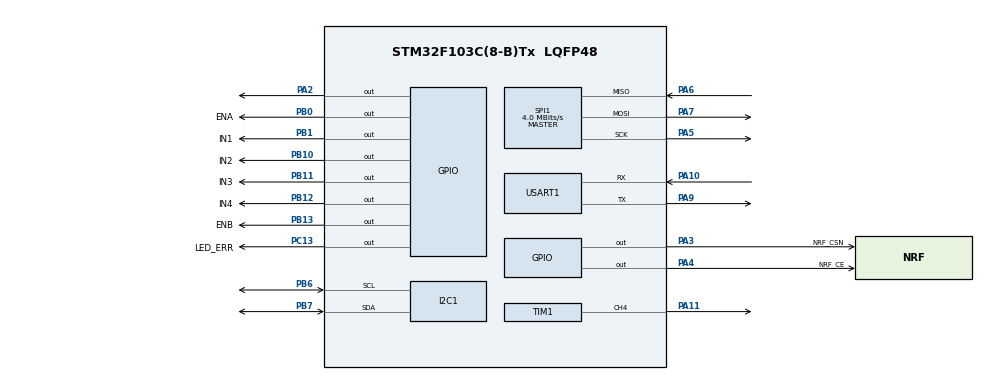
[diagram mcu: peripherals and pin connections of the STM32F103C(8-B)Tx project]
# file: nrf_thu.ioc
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Mcu.Family=STM32F1
Mcu.Name=STM32F103C(8-B)Tx
Mcu.Package=LQFP48
NVIC.PriorityGroup=NVIC_PRIORITYGROUP_4
PA10.Mode=Asynchronous
PA10.Signal=USART1_RX
PA11.Signal=S_TIM1_CH4
PA13.Mode=Serial_Wire
PA13.Signal=SYS_JTMS-SWDIO
PA14.Mode=Serial_Wire
PA14.Signal=SYS_JTCK-SWCLK
PA2.GPIO_PuPd=GPIO_PULLUP
PA2.Signal=GPIO_Output
PA3.GPIO_Label=NRF_CSN
PA3.GPIO_Speed=GPIO_SPEED_FREQ_LOW
PA3.PinState=GPIO_PIN_SET
PA3.Signal=GPIO_Output
PA4.GPIO_Label=NRF_CE
PA4.Signal=GPIO_Output
PA5.Mode=Full_Duplex_Master
PA5.Signal=SPI1_SCK
PA6.Mode=Full_Duplex_Master
PA6.Signal=SPI1_MISO
PA7.Mode=Full_Duplex_Master
PA7.Signal=SPI1_MOSI
PA9.Mode=Asynchronous
PA9.Signal=USART1_TX
PB0.GPIO_Label=ENA
PB0.GPIO_Speed=GPIO_SPEED_FREQ_HIGH
PB0.Signal=GPIO_Output
PB1.GPIO_Label=IN1
PB1.GPIO_Speed=GPIO_SPEED_FREQ_HIGH
PB1.Signal=GPIO_Output
PB10.GPIO_Label=IN2
PB10.GPIO_Speed=GPIO_SPEED_FREQ_HIGH
PB10.Signal=GPIO_Output
PB11.GPIO_Label=IN3
PB11.GPIO_Speed=GPIO_SPEED_FREQ_HIGH
PB11.Signal=GPIO_Output
PB12.GPIO_Label=IN4
PB12.GPIO_Speed=GPIO_SPEED_FREQ_HIGH
PB12.Signal=GPIO_Output
PB13.GPIO_Label=ENB
PB13.GPIO_Speed=GPIO_SPEED_FREQ_HIGH
PB13.Signal=GPIO_Output
PB6.Mode=I2C
PB6.Signal=I2C1_SCL
PB7.Mode=I2C
PB7.Signal=I2C1_SDA
PC13-TAMPER-RTC.GPIO_Label=LED_ERR
PC13-TAMPER-RTC.Signal=GPIO_Output
ProjectManager.HeapSize=0x200
ProjectManager.StackSize=0x400
ProjectManager.TargetToolchain=STM32CubeIDE
RCC.APB1Freq_Value=8000000
RCC.APB2Freq_Value=8000000
SH.S_TIM1_CH4.0=TIM1_CH4,PWM Generation4 CH4
SPI1.CalculateBaudRate=4.0 MBits/s
SPI1.Direction=SPI_DIRECTION_2LINES
SPI1.Mode=SPI_MODE_MASTER
SPI1.VirtualType=VM_MASTER
TIM1.Channel-PWM\ Generation4\ CH4=TIM_CHANNEL_4
TIM1.Period=999
TIM1.Prescaler=7
TIM1.Pulse-PWM\ Generation4\ CH4=500
USART1.VirtualMode=VM_ASYNC
VP_TIM1_VS_ClockSourceINT.Mode=Internal
board=custom

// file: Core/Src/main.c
/* USER CODE BEGIN Header */
/**
 ******************************************************************************
 * @file           : main.c
 * @brief          : Main program body
 ******************************************************************************
 * @attention
 *
 * Copyright (c) 2025 STMicroelectronics.
 * All rights reserved.
 *
 * This software is licensed under terms that can be found in the LICENSE file
 * in the root directory of this software component.
 * If no LICENSE file comes with this software, it is provided AS-IS.
 *
 ******************************************************************************
 */
/* USER CODE END Header */
#include "main.h"

/* USER CODE BEGIN Includes */
#include "nRF24L01.h"
#include "RF24_STM32.h"
#include "ina219.h"
#include "string.h"
#include "stdio.h"

RF24_HandleTypeDef hRF24;
INA219_t ina219;
/* USER CODE END Includes */

/* USER CODE BEGIN PTD */
const uint8_t rx_address[5] = { 0x30, 0x30, 0x30, 0x30, 0x31 };
const uint8_t tx_address[5] = { 0x30, 0x30, 0x30, 0x30, 0x32 };
char rxData[32];
uint32_t last_rx = 0;
const uint32_t timeout = 500;

uint32_t last_ina_read = 0;
const uint32_t ina_interval = 1000;

volatile uint32_t pwm = 700;
/* USER CODE END PTD */

I2C_HandleTypeDef hi2c1;

SPI_HandleTypeDef hspi1;

TIM_HandleTypeDef htim1;

UART_HandleTypeDef huart1;

void SystemClock_Config(void);
static void MX_GPIO_Init(void);
static void MX_SPI1_Init(void);
static void MX_USART1_UART_Init(void);
static void MX_I2C1_Init(void);
static void MX_TIM1_Init(void);
/* USER CODE BEGIN PFP */
void stop(void);
void tien(void);
void trai(void);
void phai(void);
void lui(void);
/* USER CODE END PFP */

/* USER CODE BEGIN 0 */
//uint8_t rx_address[5] = { 0x12, 0x34, 0x56, 0x78, 0x90 };
/* ----------------------------------- */
int _write(int file, char *ptr, int len) {
	HAL_UART_Transmit(&huart1, (uint8_t*) ptr, len, HAL_MAX_DELAY);
	return len;
}
/* USER CODE END 0 */

int main(void) {

	/* MCU Configuration--------------------------------------------------------*/

	/* Reset of all peripherals, Initializes the Flash interface and the Systick. */
	HAL_Init();

	/* Configure the system clock */
	SystemClock_Config();

	/* Initialize all configured peripherals */
	MX_GPIO_Init();
	MX_SPI1_Init();
	MX_USART1_UART_Init();
	MX_I2C1_Init();
	MX_TIM1_Init();
	/* USER CODE BEGIN 2 */

	__HAL_TIM_MOE_ENABLE(&htim1);
	HAL_TIM_PWM_Start(&htim1, TIM_CHANNEL_4);

	INA219_Init(&ina219, &hi2c1, INA219_ADDRESS);
	if (INA219_Begin(&ina219)) {
		printf("Ket noi thanh cong INA");
	} else {
		//Error_Handler();
	}
	printf("System Initializing...\r\n");

	RF24_Init(&hRF24, &hspi1, NRF_CE_GPIO_Port, NRF_CE_Pin, NRF_CSN_GPIO_Port,
	NRF_CSN_Pin);
	if (!RF24_begin(&hRF24)) {
		while (1) {
			printf("Error: NRF24 not connected!\r\n");
			HAL_GPIO_TogglePin(LED_ERR_GPIO_Port, LED_ERR_Pin);
			HAL_Delay(100);
		}
	}
	printf("NRF24 Connected! Mode: RX\r\n");

	RF24_setPALevel(&hRF24, RF24_PA_LOW);

	RF24_setDataRate(&hRF24, RF24_250KBPS);

	RF24_setChannel(&hRF24, 76);
	RF24_setPayloadSize(&hRF24, 32);

	RF24_openWritingPipe(&hRF24, tx_address);
	RF24_openReadingPipe(&hRF24, 1, rx_address);
	RF24_startListening(&hRF24);

	HAL_Delay(100);
	printf("Flushing old data...\r\n");
	while (RF24_available(&hRF24)) {
		char trash[32];
		RF24_read(&hRF24, trash, 32);
		printf("Discarded: %s\r\n", trash);
	}
	last_rx = HAL_GetTick();
	/* USER CODE END 2 */

	/* Infinite loop */
	while (1) {

		/* USER CODE BEGIN 3 */
		if (RF24_available(&hRF24)) {
			memset(rxData, 0, sizeof(rxData));

			RF24_read(&hRF24, rxData, 32);

			last_rx = HAL_GetTick();

			HAL_GPIO_WritePin(LED_ERR_GPIO_Port, LED_ERR_Pin, GPIO_PIN_RESET);

			printf("Cmd: %s\r\n", rxData);

			if (strcmp(rxData, "tien") == 0) {
				tien();
				HAL_Delay(100);
			} else if (strcmp(rxData, "lui") == 0) {
				lui();
				HAL_Delay(100);
			} else if (strcmp(rxData, "trai") == 0) {
				trai();
				HAL_Delay(100);
			} else if (strcmp(rxData, "phai") == 0) {
				phai();
				HAL_Delay(100);
			} else if (strcmp(rxData, "tang") == 0) {
				pwm += 100;
			} else if (strcmp(rxData, "giam") == 0) {
				pwm -= 100;
			} else {
				stop();
				if ((HAL_GetTick() - last_ina_read) >= ina_interval) {
					last_ina_read = HAL_GetTick();

					float busVolt = INA219_getBusVoltage_V(&ina219);
					if (ina219.hi2c->ErrorCode != HAL_I2C_ERROR_NONE) {
						printf("I2C Err: %lu\r\n", ina219.hi2c->ErrorCode);
						HAL_I2C_DeInit(&hi2c1);
						HAL_Delay(5);
						HAL_I2C_Init(&hi2c1);
						INA219_setCalibration_32V_2A(&ina219);
					} else {
						printf("V_Pin: %.2f V\r\n", busVolt);
					}

					RF24_stopListening(&hRF24);
					bool report = RF24_write(&hRF24, &busVolt, sizeof(float));
					RF24_startListening(&hRF24);

					if (report)
						printf("Sent: %f\r\n", busVolt);
				}
			}
		}

		if ((HAL_GetTick() - last_rx) > timeout) {
			stop();

			HAL_GPIO_WritePin(LED_ERR_GPIO_Port, LED_ERR_Pin, GPIO_PIN_SET);
			HAL_Delay(1000);
			printf("Connection Lost!\r\n");
		}
	}
	/* USER CODE END 3 */
}

void SystemClock_Config(void) {
	RCC_OscInitTypeDef RCC_OscInitStruct = { 0 };
	RCC_ClkInitTypeDef RCC_ClkInitStruct = { 0 };

	/** Initializes the RCC Oscillators according to the specified parameters
	 * in the RCC_OscInitTypeDef structure.
	 */
	RCC_OscInitStruct.OscillatorType = RCC_OSCILLATORTYPE_HSI;
	RCC_OscInitStruct.HSIState = RCC_HSI_ON;
	RCC_OscInitStruct.HSICalibrationValue = RCC_HSICALIBRATION_DEFAULT;
	RCC_OscInitStruct.PLL.PLLState = RCC_PLL_NONE;
	if (HAL_RCC_OscConfig(&RCC_OscInitStruct) != HAL_OK) {
		Error_Handler();
	}

	/** Initializes the CPU, AHB and APB buses clocks
	 */
	RCC_ClkInitStruct.ClockType = RCC_CLOCKTYPE_HCLK | RCC_CLOCKTYPE_SYSCLK
			| RCC_CLOCKTYPE_PCLK1 | RCC_CLOCKTYPE_PCLK2;
	RCC_ClkInitStruct.SYSCLKSource = RCC_SYSCLKSOURCE_HSI;
	RCC_ClkInitStruct.AHBCLKDivider = RCC_SYSCLK_DIV1;
	RCC_ClkInitStruct.APB1CLKDivider = RCC_HCLK_DIV1;
	RCC_ClkInitStruct.APB2CLKDivider = RCC_HCLK_DIV1;

	if (HAL_RCC_ClockConfig(&RCC_ClkInitStruct, FLASH_LATENCY_0) != HAL_OK) {
		Error_Handler();
	}
}

static void MX_I2C1_Init(void) {

	hi2c1.Instance = I2C1;
	hi2c1.Init.ClockSpeed = 100000;
	hi2c1.Init.DutyCycle = I2C_DUTYCYCLE_2;
	hi2c1.Init.OwnAddress1 = 0;
	hi2c1.Init.AddressingMode = I2C_ADDRESSINGMODE_7BIT;
	hi2c1.Init.DualAddressMode = I2C_DUALADDRESS_DISABLE;
	hi2c1.Init.OwnAddress2 = 0;
	hi2c1.Init.GeneralCallMode = I2C_GENERALCALL_DISABLE;
	hi2c1.Init.NoStretchMode = I2C_NOSTRETCH_DISABLE;
	if (HAL_I2C_Init(&hi2c1) != HAL_OK) {
		Error_Handler();
	}

}

static void MX_SPI1_Init(void) {

	/* SPI1 parameter configuration*/
	hspi1.Instance = SPI1;
	hspi1.Init.Mode = SPI_MODE_MASTER;
	hspi1.Init.Direction = SPI_DIRECTION_2LINES;
	hspi1.Init.DataSize = SPI_DATASIZE_8BIT;
	hspi1.Init.CLKPolarity = SPI_POLARITY_LOW;
	hspi1.Init.CLKPhase = SPI_PHASE_1EDGE;
	hspi1.Init.NSS = SPI_NSS_SOFT;
	hspi1.Init.BaudRatePrescaler = SPI_BAUDRATEPRESCALER_2;
	hspi1.Init.FirstBit = SPI_FIRSTBIT_MSB;
	hspi1.Init.TIMode = SPI_TIMODE_DISABLE;
	hspi1.Init.CRCCalculation = SPI_CRCCALCULATION_DISABLE;
	hspi1.Init.CRCPolynomial = 10;
	if (HAL_SPI_Init(&hspi1) != HAL_OK) {
		Error_Handler();
	}

}

static void MX_TIM1_Init(void) {

	TIM_ClockConfigTypeDef sClockSourceConfig = { 0 };
	TIM_MasterConfigTypeDef sMasterConfig = { 0 };
	TIM_OC_InitTypeDef sConfigOC = { 0 };
	TIM_BreakDeadTimeConfigTypeDef sBreakDeadTimeConfig = { 0 };

	htim1.Instance = TIM1;
	htim1.Init.Prescaler = 7;
	htim1.Init.CounterMode = TIM_COUNTERMODE_UP;
	htim1.Init.Period = 999;
	htim1.Init.ClockDivision = TIM_CLOCKDIVISION_DIV1;
	htim1.Init.RepetitionCounter = 0;
	htim1.Init.AutoReloadPreload = TIM_AUTORELOAD_PRELOAD_DISABLE;
	if (HAL_TIM_Base_Init(&htim1) != HAL_OK) {
		Error_Handler();
	}
	sClockSourceConfig.ClockSource = TIM_CLOCKSOURCE_INTERNAL;
	if (HAL_TIM_ConfigClockSource(&htim1, &sClockSourceConfig) != HAL_OK) {
		Error_Handler();
	}
	if (HAL_TIM_PWM_Init(&htim1) != HAL_OK) {
		Error_Handler();
	}
	sMasterConfig.MasterOutputTrigger = TIM_TRGO_RESET;
	sMasterConfig.MasterSlaveMode = TIM_MASTERSLAVEMODE_DISABLE;
	if (HAL_TIMEx_MasterConfigSynchronization(&htim1, &sMasterConfig)
			!= HAL_OK) {
		Error_Handler();
	}
	sConfigOC.OCMode = TIM_OCMODE_PWM1;
	sConfigOC.Pulse = 500;
	sConfigOC.OCPolarity = TIM_OCPOLARITY_HIGH;
	sConfigOC.OCFastMode = TIM_OCFAST_DISABLE;
	sConfigOC.OCIdleState = TIM_OCIDLESTATE_RESET;
	sConfigOC.OCNIdleState = TIM_OCNIDLESTATE_RESET;
	if (HAL_TIM_PWM_ConfigChannel(&htim1, &sConfigOC, TIM_CHANNEL_4)
			!= HAL_OK) {
		Error_Handler();
	}
	sBreakDeadTimeConfig.OffStateRunMode = TIM_OSSR_DISABLE;
	sBreakDeadTimeConfig.OffStateIDLEMode = TIM_OSSI_DISABLE;
	sBreakDeadTimeConfig.LockLevel = TIM_LOCKLEVEL_OFF;
	sBreakDeadTimeConfig.DeadTime = 0;
	sBreakDeadTimeConfig.BreakState = TIM_BREAK_DISABLE;
	sBreakDeadTimeConfig.BreakPolarity = TIM_BREAKPOLARITY_HIGH;
	sBreakDeadTimeConfig.AutomaticOutput = TIM_AUTOMATICOUTPUT_DISABLE;
	if (HAL_TIMEx_ConfigBreakDeadTime(&htim1, &sBreakDeadTimeConfig)
			!= HAL_OK) {
		Error_Handler();
	}
	HAL_TIM_MspPostInit(&htim1);

}

static void MX_USART1_UART_Init(void) {

	huart1.Instance = USART1;
	huart1.Init.BaudRate = 115200;
	huart1.Init.WordLength = UART_WORDLENGTH_8B;
	huart1.Init.StopBits = UART_STOPBITS_1;
	huart1.Init.Parity = UART_PARITY_NONE;
	huart1.Init.Mode = UART_MODE_TX_RX;
	huart1.Init.HwFlowCtl = UART_HWCONTROL_NONE;
	huart1.Init.OverSampling = UART_OVERSAMPLING_16;
	if (HAL_UART_Init(&huart1) != HAL_OK) {
		Error_Handler();
	}

}

static void MX_GPIO_Init(void) {
	GPIO_InitTypeDef GPIO_InitStruct = { 0 };

	/* GPIO Ports Clock Enable */
	__HAL_RCC_GPIOC_CLK_ENABLE();
	__HAL_RCC_GPIOA_CLK_ENABLE();
	__HAL_RCC_GPIOB_CLK_ENABLE();

	/*Configure GPIO pin Output Level */
	HAL_GPIO_WritePin(LED_ERR_GPIO_Port, LED_ERR_Pin, GPIO_PIN_RESET);

	/*Configure GPIO pin Output Level */
	HAL_GPIO_WritePin(GPIOA, GPIO_PIN_2 | NRF_CE_Pin, GPIO_PIN_RESET);

	/*Configure GPIO pin Output Level */
	HAL_GPIO_WritePin(NRF_CSN_GPIO_Port, NRF_CSN_Pin, GPIO_PIN_SET);

	/*Configure GPIO pin Output Level */
	HAL_GPIO_WritePin(GPIOB,
	ENA_Pin | IN1_Pin | IN2_Pin | IN3_Pin | IN4_Pin | ENB_Pin, GPIO_PIN_RESET);

	/*Configure GPIO pin : LED_ERR_Pin */
	GPIO_InitStruct.Pin = LED_ERR_Pin;
	GPIO_InitStruct.Mode = GPIO_MODE_OUTPUT_PP;
	GPIO_InitStruct.Pull = GPIO_NOPULL;
	GPIO_InitStruct.Speed = GPIO_SPEED_FREQ_LOW;
	HAL_GPIO_Init(LED_ERR_GPIO_Port, &GPIO_InitStruct);

	/*Configure GPIO pin : PA2 */
	GPIO_InitStruct.Pin = GPIO_PIN_2;
	GPIO_InitStruct.Mode = GPIO_MODE_OUTPUT_PP;
	GPIO_InitStruct.Pull = GPIO_PULLUP;
	GPIO_InitStruct.Speed = GPIO_SPEED_FREQ_LOW;
	HAL_GPIO_Init(GPIOA, &GPIO_InitStruct);

	/*Configure GPIO pins : NRF_CSN_Pin NRF_CE_Pin */
	GPIO_InitStruct.Pin = NRF_CSN_Pin | NRF_CE_Pin;
	GPIO_InitStruct.Mode = GPIO_MODE_OUTPUT_PP;
	GPIO_InitStruct.Pull = GPIO_NOPULL;
	GPIO_InitStruct.Speed = GPIO_SPEED_FREQ_LOW;
	HAL_GPIO_Init(GPIOA, &GPIO_InitStruct);

	/*Configure GPIO pins : ENA_Pin IN1_Pin IN2_Pin IN3_Pin
	 IN4_Pin ENB_Pin */
	GPIO_InitStruct.Pin = ENA_Pin | IN1_Pin | IN2_Pin | IN3_Pin | IN4_Pin
			| ENB_Pin;
	GPIO_InitStruct.Mode = GPIO_MODE_OUTPUT_PP;
	GPIO_InitStruct.Pull = GPIO_NOPULL;
	GPIO_InitStruct.Speed = GPIO_SPEED_FREQ_HIGH;
	HAL_GPIO_Init(GPIOB, &GPIO_InitStruct);

}

/* USER CODE BEGIN 4 */

void pwm_set(void) {
	if (pwm > 999)
		pwm = 999;
	__HAL_TIM_SET_COMPARE(&htim1, TIM_CHANNEL_4, pwm);
}

void stop(void) {

	HAL_GPIO_WritePin(GPIOB, ENA_Pin, GPIO_PIN_RESET);
	HAL_GPIO_WritePin(GPIOB, ENB_Pin, GPIO_PIN_RESET);
	pwm_set();

	HAL_GPIO_WritePin(GPIOB, IN1_Pin, GPIO_PIN_RESET);
	HAL_GPIO_WritePin(GPIOB, IN2_Pin, GPIO_PIN_RESET);
	HAL_GPIO_WritePin(GPIOB, IN3_Pin, GPIO_PIN_RESET);
	HAL_GPIO_WritePin(GPIOB, IN4_Pin, GPIO_PIN_RESET);
}

void tien(void) {

	HAL_GPIO_WritePin(GPIOB, ENA_Pin, GPIO_PIN_SET);
	HAL_GPIO_WritePin(GPIOB, ENB_Pin, GPIO_PIN_SET);

	pwm_set();
	// IN1=1, IN2=0 (Trái tiến)
	HAL_GPIO_WritePin(GPIOB, IN1_Pin, GPIO_PIN_SET);
	HAL_GPIO_WritePin(GPIOB, IN2_Pin, GPIO_PIN_RESET);
	// IN3=1, IN4=0 (Phải tiến)
	HAL_GPIO_WritePin(GPIOB, IN3_Pin, GPIO_PIN_SET);
	HAL_GPIO_WritePin(GPIOB, IN4_Pin, GPIO_PIN_RESET);
}

void lui(void) {
	HAL_GPIO_WritePin(GPIOB, ENA_Pin, GPIO_PIN_SET);
	HAL_GPIO_WritePin(GPIOB, ENB_Pin, GPIO_PIN_SET);

	pwm_set();
	// IN1=0, IN2=1 (Trái lùi)
	HAL_GPIO_WritePin(GPIOB, IN1_Pin, GPIO_PIN_RESET);
	HAL_GPIO_WritePin(GPIOB, IN2_Pin, GPIO_PIN_SET);

	// IN3=0, IN4=1 (Phải lùi)
	HAL_GPIO_WritePin(GPIOB, IN3_Pin, GPIO_PIN_RESET);
	HAL_GPIO_WritePin(GPIOB, IN4_Pin, GPIO_PIN_SET);
}

void trai(void) {
	HAL_GPIO_WritePin(GPIOB, ENA_Pin, GPIO_PIN_SET);
	HAL_GPIO_WritePin(GPIOB, ENB_Pin, GPIO_PIN_SET);

	pwm_set();
	// IN1=1, IN2=0 (Trái tiến)
	HAL_GPIO_WritePin(GPIOB, IN1_Pin, GPIO_PIN_SET);
	HAL_GPIO_WritePin(GPIOB, IN2_Pin, GPIO_PIN_RESET);

	// IN3=0, IN4=1 (Phải lùi)
	HAL_GPIO_WritePin(GPIOB, IN3_Pin, GPIO_PIN_RESET);
	HAL_GPIO_WritePin(GPIOB, IN4_Pin, GPIO_PIN_SET);
}

void phai(void) {
	HAL_GPIO_WritePin(GPIOB, ENA_Pin, GPIO_PIN_SET);
	HAL_GPIO_WritePin(GPIOB, ENB_Pin, GPIO_PIN_SET);

	pwm_set();
	// IN1=0, IN2=1 (Trái lùi)
	HAL_GPIO_WritePin(GPIOB, IN1_Pin, GPIO_PIN_RESET);
	HAL_GPIO_WritePin(GPIOB, IN2_Pin, GPIO_PIN_SET);

	// IN3=1, IN4=0 (Phải tiến)
	HAL_GPIO_WritePin(GPIOB, IN3_Pin, GPIO_PIN_SET);
	HAL_GPIO_WritePin(GPIOB, IN4_Pin, GPIO_PIN_RESET);
}
/* USER CODE END 4 */

void Error_Handler(void) {
	__disable_irq();
	while (1) {
	}
}
